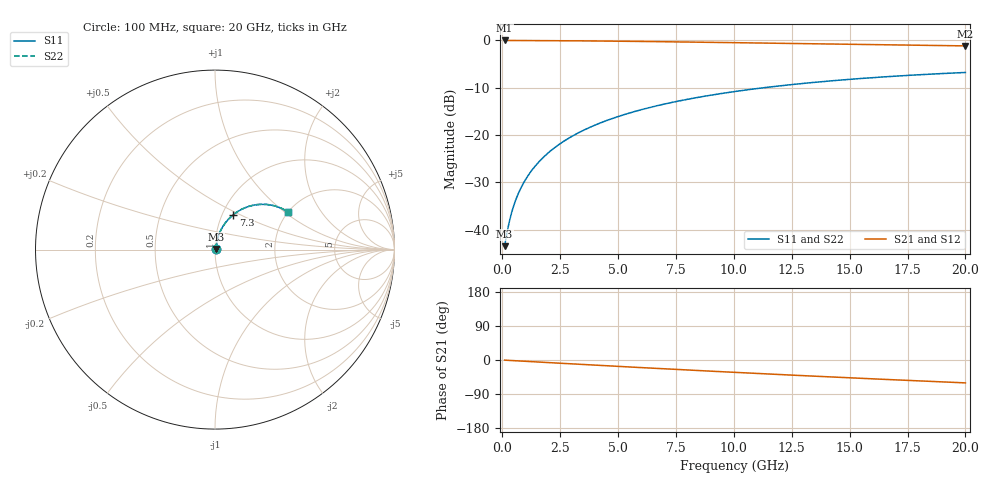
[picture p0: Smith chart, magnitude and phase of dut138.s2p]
! Touchstone file exported from HFSS 2026.1.0
!  File:  C:/ffzhzh/LocalFiles/Ansys_Project_Files/temp_train_TMRDL_138_1782982894_42984.aedt
!  Generated:  05:02:55 PM Jul  2, 2026
!  Design:  TMRDL
!  Project:  temp_train_TMRDL_138_1782982894_42984
! Variables:
!  h_bsmrdl = 2um
!  h_ox = 20um
!  h_rdl = 5um
!  h_sub = 80um
!  h_tmrdl = 4.1um
!  h_tsv = 80um
!  h_via = 3um
!  l_bsmrdl = 300um
!  l_sub = 1390.2um
!  l_tmrdl = 990.2um
!  m_sub = 200um
!  pitch = 34.13um
!  r_tsv = 6um
!  s_tmrdl = 10um
!  w_bsmrdl = 18um
!  w_sub = 500um
!  w_tmrdl = 15.27um
!  x_tsv_center1 = 997.835um
!  x_tsv_center2 = 1315.835um
!  x_tsv_center3 = 2321.305um
!  x_tsv_center4 = 2639.305um
!  x_tsv_center5 = 3644.775um
!  x_tsv_center6 = 3962.775um
# GHz S MA R 50.000000
! Terminal data exported
! Port[1] = TM_RDL1_1_T1
! Port[2] = TM_RDL1_1_T2
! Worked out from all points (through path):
!   200 points, 100 MHz to 20 GHz, reference 50 ohm
!   highest |S21| = -0.05 dB at 100 MHz (marker M1); lowest = -1.2 dB at 20 GHz (marker M2)
!   group delay of S21, straight-line fit = 8.38 ps
!   lowest |S11| = -43.5 dB at 100 MHz (marker M3), VSWR 1.01, Z = 50.6 + j0.358 ohm
!   |S11| at or under -10 dB: start of sweep to 11.34 GHz
!   |S22| runs from -43.5 to -6.8 dB; largest |S21 - S12| = 1.8e-14
!   S11 on the Smith chart (normalised r, x): 100 MHz: 1.01, +0.01; 7.3 GHz: 1.13, +0.46; 20 GHz: 1.99, +1.06
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0.1  0.006698 31.9  0.9943 -0.4  0.9943 -0.4  0.006698 31.9
! Gamma 0 0 0 0
! Port Impedance 50 0 50 0
0.2  0.009175 49.6  0.9941 -0.7  0.9941 -0.7  0.009175 49.6
0.3  0.01207 58.6  0.9939 -1.1  0.9939 -1.1  0.01207 58.7
0.4  0.01508 63.9  0.9936 -1.4  0.9936 -1.4  0.01508 63.9
0.5  0.01813 67.3  0.9934 -1.8  0.9934 -1.8  0.01813 67.3
0.6  0.0212 69.7  0.9932 -2.1  0.9932 -2.1  0.0212 69.7
0.8  0.02741 72.8  0.9928 -2.8  0.9928 -2.8  0.02741 72.8
1.1  0.03681 75.1  0.9923 -3.8  0.9923 -3.8  0.03681 75.1
1.3  0.04313 75.9  0.9919 -4.5  0.9919 -4.5  0.04312 75.9
1.6  0.05261 76.4  0.9912 -5.5  0.9912 -5.5  0.05261 76.4
2.1  0.0684 76.2  0.9899 -7.2  0.9899 -7.2  0.0684 76.3
2.7  0.08719 75.3  0.9878 -9.2  0.9878 -9.2  0.08718 75.3
3.5  0.1118 73.4  0.9845 -11.9  0.9845 -11.9  0.1118 73.4
4.2  0.1329 71.5  0.9811 -14.2  0.9811 -14.2  0.1329 71.5
5  0.1564 69.1  0.9768 -16.8  0.9768 -16.8  0.1564 69.2
6.8  0.2066 63.8  0.9655 -22.6  0.9655 -22.6  0.2066 63.8
7.3  0.2199 62.3  0.9621 -24.2  0.9621 -24.2  0.2198 62.3
8.6  0.253 58.4  0.9529 -28.2  0.9529 -28.2  0.253 58.5
10.1  0.2887 54.1  0.9417 -32.8  0.9417 -32.8  0.2887 54.2
13.4  0.3577 44.8  0.9166 -42.5  0.9166 -42.5  0.3576 44.9
16.7  0.4135 35.9  0.8925 -51.7  0.8925 -51.7  0.4134 36.0
20  0.4566 27.4  0.8714 -60.4  0.8714 -60.4  0.4565 27.6
